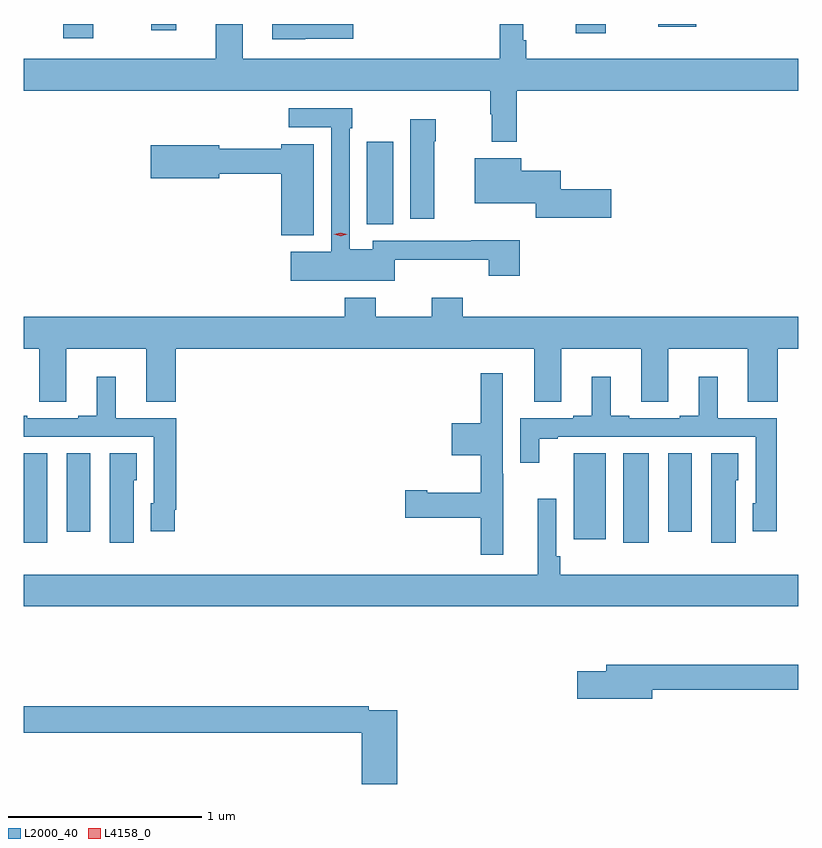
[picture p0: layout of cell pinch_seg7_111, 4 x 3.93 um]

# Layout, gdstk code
import gdstk
lib = gdstk.Library(unit=1e-6, precision=1e-09)
def R(c, l, rs):  # rectangles x0, y0, x1, y1
    for r in rs: c.add(gdstk.rectangle(r[:2], r[2:], *l))
def P(c, l, *ps):  # polygons
    for p in ps: c.add(gdstk.Polygon(p, *l))
L2000_40 = (2000, 40)
L4158_0 = (4158, 0)

pinch_seg7_111 = lib.new_cell('pinch_seg7_111')
R(pinch_seg7_111, L2000_40, [(922.383,1007.604,922.504,1008.068), (925.478,1007.604,925.612,1008.068), (925.223,1007.622,925.39,1008.068), (922.604,1007.661,922.726,1008.068), (925.712,1007.661,925.834,1008.068), (924.155,1009.249,924.292,1009.675), (922.587,1010.211,922.741,1010.284), (925.235,1010.235,925.39,1010.284), (923.041,1010.253,923.17,1010.284), (925.659,1010.27,925.856,1010.284)])
P(pinch_seg7_111, L2000_40, [(924.793,1009.817),(924.801,1009.817),(924.801,1009.677),(924.929,1009.677),(924.929,1009.94),(926.383,1009.94),(926.383,1010.104),(924.977,1010.104),(924.977,1010.2),(924.962,1010.2),(924.962,1010.284),(924.841,1010.284),(924.841,1010.104),(923.515,1010.104),(923.515,1010.284),(923.375,1010.284),(923.375,1010.104),(922.383,1010.104),(922.383,1009.94),(924.793,1009.94)],
  [(923.838,1010.207),(924.085,1010.207),(924.085,1010.284),(923.667,1010.284),(923.667,1010.204),(923.838,1010.204)],
  [(924.298,1009.067),(924.784,1009.067),(924.784,1008.984),(924.944,1008.984),(924.944,1009.166),(924.695,1009.166),(924.695,1009.164),(924.185,1009.164),(924.185,1009.12),(924.066,1009.12),(924.066,1009.745),(924.079,1009.745),(924.079,1009.848),(923.751,1009.848),(923.751,1009.752),(923.97,1009.752),(923.97,1009.108),(923.763,1009.108),(923.763,1008.959),(924.298,1008.959)],
  [(924.502,1009.679),(924.51,1009.679),(924.51,1009.792),(924.38,1009.792),(924.38,1009.278),(924.502,1009.278)],
  [(923.881,1009.663),(923.714,1009.663),(923.714,1009.639),(923.392,1009.639),(923.392,1009.657),(923.04,1009.657),(923.04,1009.487),(923.392,1009.487),(923.392,1009.51),(923.714,1009.51),(923.714,1009.193),(923.881,1009.193)],
  [(925.417,1009.43),(925.156,1009.43),(925.156,1009.525),(924.952,1009.525),(924.952,1009.591),(924.713,1009.591),(924.713,1009.358),(925.028,1009.358),(925.028,1009.283),(925.417,1009.283)],
  [(922.603,1008.608),(923.015,1008.608),(923.015,1008.334),(923.168,1008.334),(923.168,1008.608),(925.019,1008.608),(925.019,1008.334),(925.159,1008.334),(925.159,1008.608),(925.571,1008.608),(925.571,1008.334),(925.711,1008.334),(925.711,1008.608),(926.123,1008.608),(926.123,1008.334),(926.276,1008.334),(926.276,1008.608),(926.383,1008.608),(926.383,1008.772),(924.65,1008.772),(924.65,1008.871),(924.49,1008.871),(924.49,1008.772),(924.201,1008.772),(924.201,1008.871),(924.041,1008.871),(924.041,1008.772),(922.383,1008.772),(922.383,1008.608),(922.463,1008.608),(922.463,1008.334),(922.603,1008.334)],
  [(924.86,1007.96),(924.858,1007.96),(924.858,1008.481),(924.742,1008.481),(924.742,1008.222),(924.594,1008.222),(924.594,1008.056),(924.742,1008.056),(924.742,1007.863),(924.466,1007.863),(924.466,1007.876),(924.354,1007.876),(924.354,1007.734),(924.742,1007.734),(924.742,1007.544),(924.86,1007.544)],
  [(926.272,1008.249),(925.966,1008.249),(925.966,1008.463),(925.868,1008.463),(925.868,1008.262),(925.772,1008.262),(925.772,1008.249),(925.51,1008.249),(925.51,1008.262),(925.414,1008.262),(925.414,1008.463),(925.316,1008.463),(925.316,1008.262),(925.22,1008.262),(925.22,1008.249),(924.948,1008.249),(924.948,1008.018),(925.045,1008.018),(925.045,1008.141),(925.141,1008.141),(925.141,1008.153),(926.163,1008.153),(926.163,1007.808),(926.147,1007.808),(926.147,1007.664),(926.272,1007.664)],
  [(923.164,1007.776),(923.171,1007.776),(923.171,1008.249),(922.858,1008.249),(922.858,1008.463),(922.76,1008.463),(922.76,1008.262),(922.664,1008.262),(922.664,1008.249),(922.402,1008.249),(922.402,1008.262),(922.383,1008.262),(922.383,1008.153),(923.055,1008.153),(923.055,1007.808),(923.039,1007.808),(923.039,1007.664),(923.164,1007.664)],
  [(926.059,1007.928),(926.074,1007.928),(926.074,1008.068),(925.934,1008.068),(925.934,1007.604),(926.059,1007.604)],
  [(922.951,1007.928),(922.966,1007.928),(922.966,1008.068),(922.826,1008.068),(922.826,1007.604),(922.951,1007.604)],
  [(926.383,1007.44),(925.154,1007.44),(925.154,1007.536),(925.134,1007.536),(925.134,1007.833),(925.037,1007.833),(925.037,1007.44),(922.383,1007.44),(922.383,1007.276),(926.383,1007.276)],
  [(925.63,1006.846),(926.383,1006.846),(926.383,1006.975),(925.391,1006.975),(925.391,1006.941),(925.242,1006.941),(925.242,1006.799),(925.63,1006.799)],
  [(924.311,1006.74),(924.164,1006.74),(924.164,1006.76),(922.383,1006.76),(922.383,1006.624),(924.128,1006.624),(924.128,1006.359),(924.311,1006.359)])
P(pinch_seg7_111, L4158_0, [(924.019,1009.187),(923.984,1009.197),(923.984,1009.197),(923.984,1009.197),(924.019,1009.207),(924.054,1009.197),(924.054,1009.197),(924.054,1009.197)])

lib.write_gds('pinch_seg7_111.gds')
